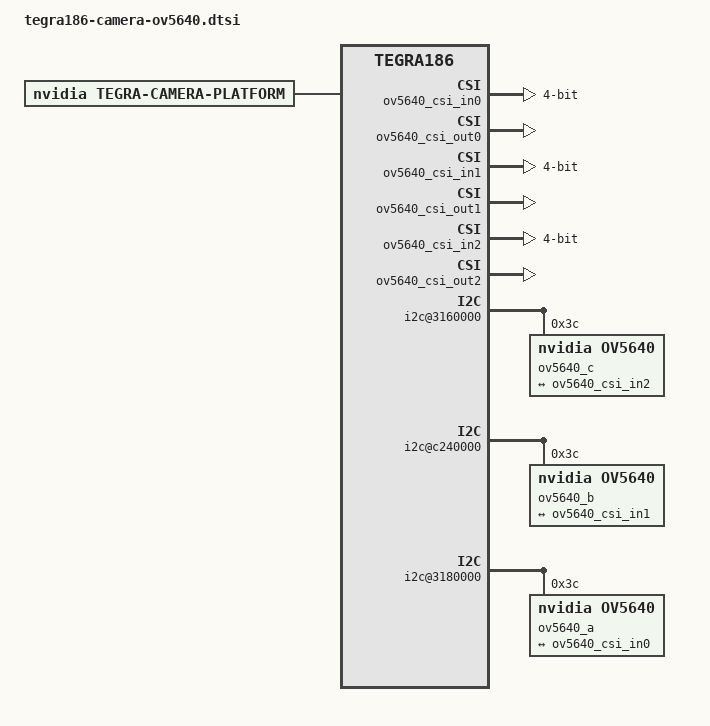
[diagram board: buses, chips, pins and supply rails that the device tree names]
/*
 * Copyright (c) 2015-2017, NVIDIA CORPORATION.  All rights reserved.
 *
 * This program is free software; you can redistribute it and/or modify
 * it under the terms of the GNU General Public License as published by
 * the Free Software Foundation; either version 2 of the License, or
 * (at your option) any later version.
 *
 * This program is distributed in the hope that it will be useful, but WITHOUT
 * ANY WARRANTY; without even the implied warranty of MERCHANTABILITY or
 * FITNESS FOR A PARTICULAR PURPOSE.  See the GNU General Public License for
 * more details.
 *
 * You should have received a copy of the GNU General Public License
 * along with this program.  If not, see <http://www.gnu.org/licenses/>.
 */
 
/ {
	host1x {
		vi@15700000 {
			num-channels = <6>;
            		#address-cells = <1>;
            		#size-cells = <0>;
			ports {
				#address-cells = <1>;
				#size-cells = <0>;
				port@0 {
					reg = <0>;
                    			status = "okay";
					ov5640_vi_in0: endpoint {
                        			status = "okay";
						port-index = <0>;
						bus-width = <4>;
						remote-endpoint = <&ov5640_csi_out0>;
					};
				};
				port@1 {
					reg = <1>;
                    			status = "okay";
					ov5640_vi_in1: endpoint {
                        			status = "okay";
						port-index = <1>;
						bus-width = <4>;
						remote-endpoint = <&ov5640_csi_out1>;
					};
				};
				port@2 {
					reg = <2>;
                    			status = "okay";
					ov5640_vi_in2: endpoint {
                        		status = "okay";
						port-index = <2>;
						bus-width = <4>;
						remote-endpoint = <&ov5640_csi_out2>;
					};
				};
			};
		};

		nvcsi@150c0000 {
			num-channels = <6>;
            		#address-cells = <1>;
            		#size-cells = <0>;
			channel@0 {
				reg = <0>;
                		status = "okay";
				ports {
					#address-cells = <1>;
					#size-cells = <0>;
					port@0 {
						reg = <0>;
                        			status = "okay";
						ov5640_csi_in0: endpoint@0 {
                            				status = "okay";
							port-index = <0>;
							bus-width = <4>;
							remote-endpoint = <&ov5640_out0>;
						};
					};
					port@1 {
						reg = <1>;
                        			status = "okay";
						ov5640_csi_out0: endpoint@1 {
                            				status = "okay";
							remote-endpoint = <&ov5640_vi_in0>;
						};
					};
				};
			};
			channel@1 {
				reg = <1>;
                		status = "okay";
				ports {
					#address-cells = <1>;
					#size-cells = <0>;
					port@0 {
						reg = <0>;
                        			status = "okay";
						ov5640_csi_in1: endpoint@0 {
                            				status = "okay";
							port-index = <1>;
							bus-width = <4>;
							remote-endpoint = <&ov5640_out1>;
						};
					};
					port@1 {
						reg = <1>;
                       				status = "okay";
						ov5640_csi_out1: endpoint@1 {
                            				status = "okay";
							remote-endpoint = <&ov5640_vi_in1>;
						};
					};
				};
			};
			channel@2 {
				reg = <2>;
                		status = "okay";
				ports {
					#address-cells = <1>;
					#size-cells = <0>;
					port@0 {
						reg = <0>;
                        			status = "okay";
						ov5640_csi_in2: endpoint@0 {
                            				status = "okay";
							port-index = <2>;
							bus-width = <4>;
							remote-endpoint = <&ov5640_out2>;
						};
					};
					port@1 {
						reg = <1>;
                        			status = "okay";
						ov5640_csi_out2: endpoint@1 {
                            				status = "okay";
							remote-endpoint = <&ov5640_vi_in2>;
						};
					};
				};
			};	
		};
	};
	i2c@3160000 {
			ov5640_c@3c {
                    			status = "okay";
					devnode = "video2";
					compatible = "nvidia,ov5640";

					reg = <0x3c>;




					physical_w = "3.674";
					physical_h = "2.738";



					avdd-reg = "vana";
					iovdd-reg = "vif";

					vertical-flip = "true";

					mode0 { //OV5640_MODE_1920x1080
						mclk_khz = "24000";
						num_lanes = "2";
						tegra_sinterface = "serial_c";
                        			phy_mode = "DPHY";
						//discontinuous_clk = "no";
						discontinuous_clk = "yes";
						dpcm_enable = "false";
						cil_settletime = "0";

						active_w = "1920";
						active_h = "1080";
						pixel_t = "uyvy";
						readout_orientation = "90";
						line_length = "2500";
						inherent_gain = "1";
						pix_clk_hz = "160000000";
						mclk_multiplier = "6.67";

						min_gain_val = "0";
						max_gain_val = "48";
						min_hdr_ratio = "1";
						max_hdr_ratio = "1";
						min_framerate = "1.816577";
						max_framerate = "30";
						min_exp_time = "34";
						max_exp_time = "660000";
						embedded_metadata_height = "0";
					};
					mode2 { //OV5693_MODE_1280X720
						mclk_khz = "24000";
						num_lanes = "2";
						tegra_sinterface = "serial_c";
						phy_mode = "DPHY";
						//discontinuous_clk = "no";
						discontinuous_clk = "yes";
						dpcm_enable = "false";
						cil_settletime = "0";

						active_w = "1280";
						active_h = "720";
						pixel_t = "uyvy";
						readout_orientation = "90";
						line_length = "1752";
						inherent_gain = "1";
						mclk_multiplier = "6.67";
						pix_clk_hz = "160000000";

						min_gain_val = "0";
						max_gain_val = "48";
						min_hdr_ratio = "1";
						max_hdr_ratio = "1";
						min_framerate = "1.816577";
						max_framerate = "30";
						min_exp_time = "34";
						max_exp_time = "660000";
						embedded_metadata_height = "0";
					};
				
					ports {
						#address-cells = <1>;
						#size-cells = <0>;

						port@0 {
							reg = <0>;
                            status = "okay";
							ov5640_out2: endpoint {
                                status = "okay";
								port-index = <2>;
								bus-width = <4>;
								remote-endpoint = <&ov5640_csi_in2>;
							};
						};
					};
		
				};		
	};
	i2c@c240000 {
			ov5640_b@3c {
                    status = "okay";
					devnode = "video1";
					compatible = "nvidia,ov5640";

					reg = <0x3c>;
					physical_w = "3.674";
					physical_h = "2.738";

					avdd-reg = "vana";
					iovdd-reg = "vif";


					vertical-flip = "true";	

					mode0 { //OV5693_MODE_1920x1080
						mclk_khz = "24000";
						num_lanes = "2";
						tegra_sinterface = "serial_b";
                        			phy_mode = "DPHY";
						//discontinuous_clk = "no";
						discontinuous_clk = "yes";
						dpcm_enable = "false";
						cil_settletime = "0";

						active_w = "1920";
						active_h = "1080";
						pixel_t = "uyvy";
						readout_orientation = "90";
						line_length = "2500";
						inherent_gain = "1";
						pix_clk_hz = "160000000";
						mclk_multiplier = "6.67";

						min_gain_val = "0";
						max_gain_val = "48";
						min_hdr_ratio = "1";
						max_hdr_ratio = "1";
						min_framerate = "1.816577";
						max_framerate = "30";
						min_exp_time = "34";
						max_exp_time = "660000";
						embedded_metadata_height = "0";
					};
					mode2 { //OV5693_MODE_1280X720
						mclk_khz = "24000";
						num_lanes = "2";
						tegra_sinterface = "serial_b";
						phy_mode = "DPHY";
						//discontinuous_clk = "no";
						discontinuous_clk = "yes";
						dpcm_enable = "false";
						cil_settletime = "0";

						active_w = "1280";
						active_h = "720";
						pixel_t = "uyvy";
						readout_orientation = "90";
						line_length = "1752";
						inherent_gain = "1";
						mclk_multiplier = "6.67";
						pix_clk_hz = "160000000";

						min_gain_val = "0";
						max_gain_val = "48";
						min_hdr_ratio = "1";
						max_hdr_ratio = "1";
						min_framerate = "1.816577";
						max_framerate = "30";
						min_exp_time = "34";
						max_exp_time = "660000";
						embedded_metadata_height = "0";
					};

					ports {
						#address-cells = <1>;
						#size-cells = <0>;

						port@0 {
							reg = <0>;
                            status = "okay";
							ov5640_out1: endpoint {
                                status = "okay";
								port-index = <1>;
								bus-width = <4>;
								remote-endpoint = <&ov5640_csi_in1>;
							};
						};
					};
		
				};		
	};

	i2c@3180000 {
				ov5640_a@3c {
                   			status = "okay";
					compatible = "nvidia,ov5640";
					/* I2C device address */
					reg = <0x3c>;

					/* V4L2 device node location */
					devnode = "video0";

					/* Physical dimensions of sensor */
					physical_w = "3.674";
					physical_h = "2.738";
                    
					/* Define any required hw resources needed by driver */
					/* ie. clocks, io pins, power sources */
					avdd-reg = "vana";
					iovdd-reg = "vif";

					/* Sensor output flip settings */
					vertical-flip = "true";

					mode0 { //OV5693_MODE_1920x1080
						mclk_khz = "24000";
						num_lanes = "2";
						tegra_sinterface = "serial_a";
                       				phy_mode = "DPHY";
                        			//discontinuous_clk = "no";
						discontinuous_clk = "yes";
						dpcm_enable = "false";
						cil_settletime = "0";

						active_w = "1920";
						active_h = "1080";
						pixel_t = "uyvy";
						readout_orientation = "90";
						line_length = "2500";
						inherent_gain = "1";
						pix_clk_hz = "160000000";
						mclk_multiplier = "6.67";

						min_gain_val = "0";
						max_gain_val = "48";
						min_hdr_ratio = "1";
						max_hdr_ratio = "1";
						min_framerate = "1.816577";
						max_framerate = "30";
						min_exp_time = "34";
						max_exp_time = "660000";
						embedded_metadata_height = "0";
					};
					mode2 { //OV5693_MODE_1280X720
						mclk_khz = "24000";
						num_lanes = "2";
						tegra_sinterface = "serial_a";
						phy_mode = "DPHY";
						discontinuous_clk = "yes";
						dpcm_enable = "false";
						cil_settletime = "0";

						active_w = "1280";
						active_h = "720";
						pixel_t = "uyvy";
						readout_orientation = "90";
						line_length = "1752";
						inherent_gain = "1";
						mclk_multiplier = "6.67";
						pix_clk_hz = "160000000";

						min_gain_val = "0";
						max_gain_val = "48";
						min_hdr_ratio = "1";
						max_hdr_ratio = "1";
						min_framerate = "1.816577";
						max_framerate = "30";
						min_exp_time = "34";
						max_exp_time = "660000";
						embedded_metadata_height = "0";
					};

					ports {
						#address-cells = <1>;
						#size-cells = <0>;

						port@0 {
							reg = <0>;
                            				status = "okay";
							ov5640_out0: endpoint {
                                			status = "okay";
								port-index = <0>;
								bus-width = <4>;
								remote-endpoint = <&ov5640_csi_in0>;
							};
						};
					};
		
				};	
	
			};

};  

/ {
    tegra-camera-platform {
		compatible = "nvidia, tegra-camera-platform";
		/**
		* Physical settings to calculate max ISO BW
		*
		* num_csi_lanes = <>;
		* Total number of CSI lanes when all cameras are active
		*
		* max_lane_speed = <>;
		* Max lane speed in Kbit/s
		*
		* min_bits_per_pixel = <>;
		* Min bits per pixel
		*
		* vi_peak_byte_per_pixel = <>;
		* Max byte per pixel for the VI ISO case
		*
		* vi_bw_margin_pct = <>;
		* Vi bandwidth margin in percentage
		*
		* max_pixel_rate = <>;
		* Max pixel rate in Kpixel/s for the ISP ISO case
		*
		* isp_peak_byte_per_pixel = <>;
		* Max byte per pixel for the ISP ISO case
		*
		* isp_bw_margin_pct = <>;
		* Isp bandwidth margin in percentage
		*/
		num_csi_lanes = <6>;
		max_lane_speed = <1500000>;
		min_bits_per_pixel = <10>;
		vi_peak_byte_per_pixel = <2>;
		vi_bw_margin_pct = <25>;
		max_pixel_rate = <160000>;
		isp_peak_byte_per_pixel = <5>;
		isp_bw_margin_pct = <25>;

		/**
		* The general guideline for naming badge_info contains 3 parts, and is as follows,
		* The first part is the camera_board_id for the module; if the module is in a FFD
		* platform, then use the platform name for this part.
		* The second part contains the position of the module, ex. “rear” or “front”.
		* The third part contains the last 6 characters of a part number which is found
		* in the module's specsheet from the vender.
		*/
		modules {
			module0 {
                status = "okay";
				badge = "ov5640_center_ov";
				position = "center";
				orientation = "1";
				drivernode0 {
                    status = "okay";
					/* Declare PCL support driver (classically known as guid)  */
					pcl_id = "v4l2_sensor";
					/* Driver v4l2 device name */
					devname = "ov5640 0-003c";
					/* Declare the device-tree hierarchy to driver instance */
					proc-device-tree = "/proc/device-tree/i2c@3180000/ov5640_a@3c";					
//proc-device-tree = "/proc/device-tree/i2c@3180000/tca9548@77/i2c@0/ov5640_a@3c";
//proc-device-tree = "/proc/device-tree/i2c@c240000/tca9548@70/i2c@0/ov5640_c@3c";
				};
				
			};
			module1 {
                status = "okay";
				badge = "ov5640_top_ov";
				position = "top";
				orientation = "1";
				drivernode0 {
                    status = "okay";

					pcl_id = "v4l2_sensor";

					devname = "ov5640 1-003c";

					proc-device-tree = "/proc/device-tree/i2c@c240000/ov5640_b@3c";					
//proc-device-tree = "/proc/device-tree/i2c@c240000/tca9548@70/i2c@1/ov5640_d@3c";
				};
				
			};
			module2 {
                status = "okay";
				badge = "ov5640_bottom_ov";
				position = "bottomleft";
				orientation = "1";
				drivernode0 {
                    status = "okay";

					pcl_id = "v4l2_sensor";

					devname = "ov5640 2-003c";

					proc-device-tree = "/proc/device-tree/i2c@3160000/ov5640_c@3c";
//proc-device-tree = "/proc/device-tree/i2c@c240000/tca9548@70/i2c@2/ov5640_a@3c";
				};
				
			};

		};
	};
};
